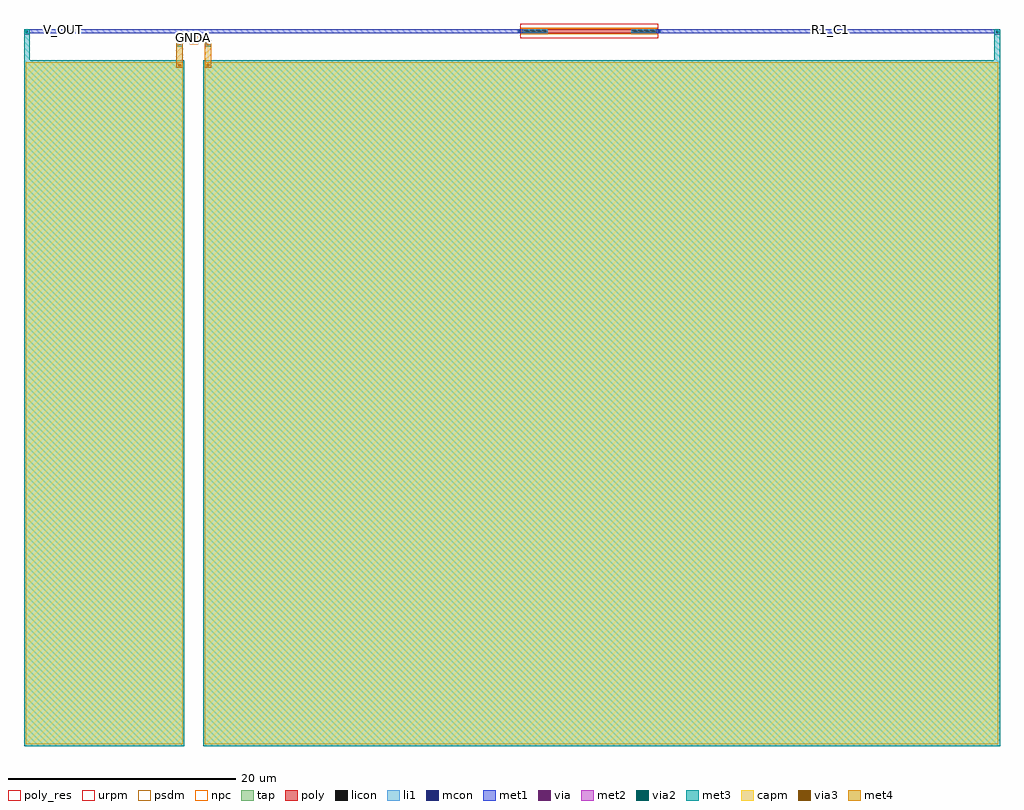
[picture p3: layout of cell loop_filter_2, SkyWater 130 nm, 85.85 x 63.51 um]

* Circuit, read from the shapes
.subckt loop_filter_2 GNDA R1_C1 V_OUT
XC1 GNDA V_OUT sky130_fd_pr__cap_mim_m3_1 w=13.8 l=60
XC2 GNDA R1_C1 sky130_fd_pr__cap_mim_m3_1 w=69.8 l=60
XR3 R1_C1 V_OUT GNDA sky130_fd_pr__res_xhigh_po w=0.35 l=7.4
.ends

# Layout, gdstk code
import gdstk
lib = gdstk.Library(unit=1e-6, precision=1e-09)
def R(c, l, rs):  # rectangles x0, y0, x1, y1
    for r in rs: c.add(gdstk.rectangle(r[:2], r[2:], *l))
tap = (65, 44)
poly_res = (66, 13)
poly = (66, 20)
licon = (66, 44)
li1 = (67, 20)
mcon = (67, 44)
met1 = (68, 20)
via = (68, 44)
met2 = (69, 20)
via2 = (69, 44)
met3 = (70, 20)
via3 = (70, 44)
met4 = (71, 20)
urpm = (79, 20)
capm = (89, 44)
psdm = (94, 20)
npc = (95, 20)

loop_filter_2 = lib.new_cell('loop_filter_2')
R(loop_filter_2, tap, [(26.05,2.1,26.55,2.6)])
R(loop_filter_2, poly_res, [(57.32,2.95,64.84,3.3)])
R(loop_filter_2, poly, [(55.2,2.95,66.96,3.3)])
R(loop_filter_2, licon, [(26.215,2.265,26.385,2.435), (55.3,3.03,57.3,3.22), (64.86,3.03,66.86,3.22)])
R(loop_filter_2, li1, [(24.75,1.75,25.3,2.1), (27.25,1.75,27.8,2.1), (24.75,2.1,27.8,2.3), (26.05,2.3,26.55,2.6), (11.35,2.8,11.85,3.3), (54.8,2.95,57.4,3.3), (64.76,2.95,67.36,3.3)])
R(loop_filter_2, mcon, [(24.94,1.94,25.11,2.11), (27.44,1.94,27.61,2.11), (11.515,2.965,11.685,3.135), (54.89,3.04,55.06,3.21), (67.1,3.04,67.27,3.21)])
R(loop_filter_2, met1, [(24.75,1.75,25.3,2.3), (27.25,1.75,27.8,2.3), (11.35,2.8,11.85,2.95), (96.7,2.8,97.2,2.95), (11.35,2.95,55.2,3.3), (66.95,2.95,97.2,3.3)])
R(loop_filter_2, via, [(24.95,1.95,25.1,2.1), (27.45,1.95,27.6,2.1), (11.525,2.975,11.675,3.125), (96.875,2.975,97.025,3.125)])
R(loop_filter_2, met2, [(24.75,1.75,25.3,2.3), (27.25,1.75,27.8,2.3), (11.35,2.8,11.85,3.3), (96.7,2.8,97.2,3.3)])
R(loop_filter_2, via2, [(24.925,1.925,25.125,2.125), (27.425,1.925,27.625,2.125), (11.5,2.95,11.7,3.15), (96.85,2.95,97.05,3.15)])
R(loop_filter_2, met3, [(11.35,-59.75,25.45,0.55), (27.1,-59.75,97.2,0.55), (11.35,0.55,11.85,3.3), (96.7,0.55,97.2,3.3), (24.75,1.75,25.3,2.3), (27.25,1.75,27.8,2.3)])
R(loop_filter_2, via3, [(24.925,0.025,25.125,0.225), (27.425,0.025,27.625,0.225), (24.925,1.925,25.125,2.125), (27.425,1.925,27.625,2.125)])
R(loop_filter_2, met4, [(24.75,-0.1,25.3,2.3), (27.25,-0.1,27.8,2.3)])
R(loop_filter_2, urpm, [(55,2.49,67.16,3.76)])
R(loop_filter_2, capm, [(11.5,-59.6,25.3,0.4), (27.25,-59.6,97.05,0.4)])
R(loop_filter_2, psdm, [(25.925,1.975,26.675,2.725), (55.09,2.84,67.07,3.41)])
R(loop_filter_2, npc, [(55.105,2.855,67.055,3.395)])
loop_filter_2.add(gdstk.Label('R1_C1', (82.3,3.3), layer=68, texttype=5))
loop_filter_2.add(gdstk.Label('V_OUT', (14.85,3.3), layer=68, texttype=5))
loop_filter_2.add(gdstk.Label('GNDA', (26.3,2.6), layer=67, texttype=5))

lib.write_gds('loop_filter_2.gds')
